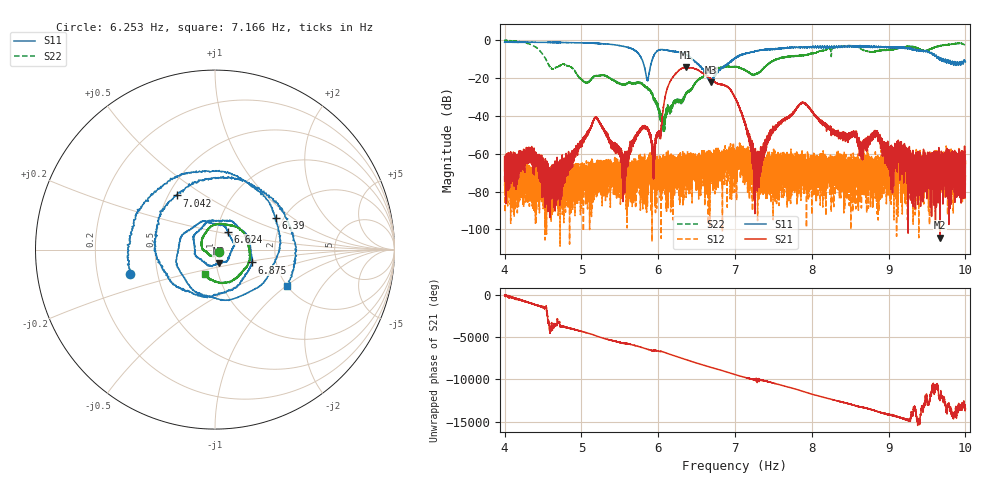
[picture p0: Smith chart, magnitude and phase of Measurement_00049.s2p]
!Created with skrf (http://scikit-rf.org).
# Hz S RI R 50.0
!freq ReS11 ImS11 ReS21 ImS21 ReS12 ImS12 ReS22 ImS22
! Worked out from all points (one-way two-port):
!   14001 points, 4 Hz to 10 Hz, reference 50 ohm
!   highest |S21| = -14.29 dB at 6.361 Hz (marker M1); lowest = -104.3 dB at 9.667 Hz (marker M2)
!   lowest |S11| = -22.3 dB at 6.687 Hz (marker M3), VSWR 1.17, Z = 51.4 - j7.68 ohm
!   |S11| at or under -10 dB: 5.786 Hz to 5.926 Hz (139.8 mHz wide, 2.39 % of centre); 6.443 Hz to 6.986 Hz (542.5 mHz wide, 8.08 % of centre); 9.711 Hz to end of sweep (the widest 3 of 12)
!   |S22| runs from -48.8 to -0.2 dB; largest |S21 - S12| = 0.19
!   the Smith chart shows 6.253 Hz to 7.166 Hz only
!   S11 on the Smith chart (normalised r, x): 6.253 Hz: 0.35, -0.12; 6.39 Hz: 1.82, +0.75; 6.624 Hz: 1.13, +0.23; 6.875 Hz: 1.50, -0.22; 7.042 Hz: 0.55, +0.39; 7.166 Hz: 1.99, -1.02
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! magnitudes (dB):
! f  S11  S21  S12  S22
! 4 Hz  -1.1  -69.1  -71.8  -0.3
! 4.354 Hz  -1.1  -62.0  -82.0  -2.6
! 4.596 Hz  -1.2  -78.4  -82.8  -14.3
! 5 Hz  -1.5  -54.5  -71.9  -20.8
! 5.196 Hz  -1.7  -40.8  -70.0  -18.9
! 5.559 Hz  -3.4  -68.6  -64.9  -23.4
! 5.859 Hz  -21.3  -46.5  -71.3  -25.6
! 6 Hz  -5.4  -49.1  -75.7  -35.1
! 6.253 Hz  -6.2  -16.7  -72.3  -31.9
! 6.361 Hz  -7.6  -14.3  -68.3  -28.5
! 6.39 Hz  -8.4  -14.6  -60.0  -27.6
! 6.624 Hz  -18.2  -18.7  -67.6  -17.5
! 6.687 Hz  -22.3  -20.6  -74.1  -16.7
! 6.875 Hz  -13.2  -24.1  -58.4  -14.1
! 7 Hz  -9.6  -30.4  -76.1  -14.0
! 7.042 Hz  -8.6  -34.1  -58.0  -14.5
! 7.166 Hz  -6.9  -49.4  -58.8  -16.7
! 7.288 Hz  -5.6  -68.1  -62.3  -17.7
! 8 Hz  -3.8  -37.5  -75.0  -6.9
! 9 Hz  -3.9  -66.2  -72.1  -5.0
! 9.667 Hz  -10.4  -104.3  -69.9  -3.1
! 10 Hz  -11.6  -65.3  -71.9  -3.1
